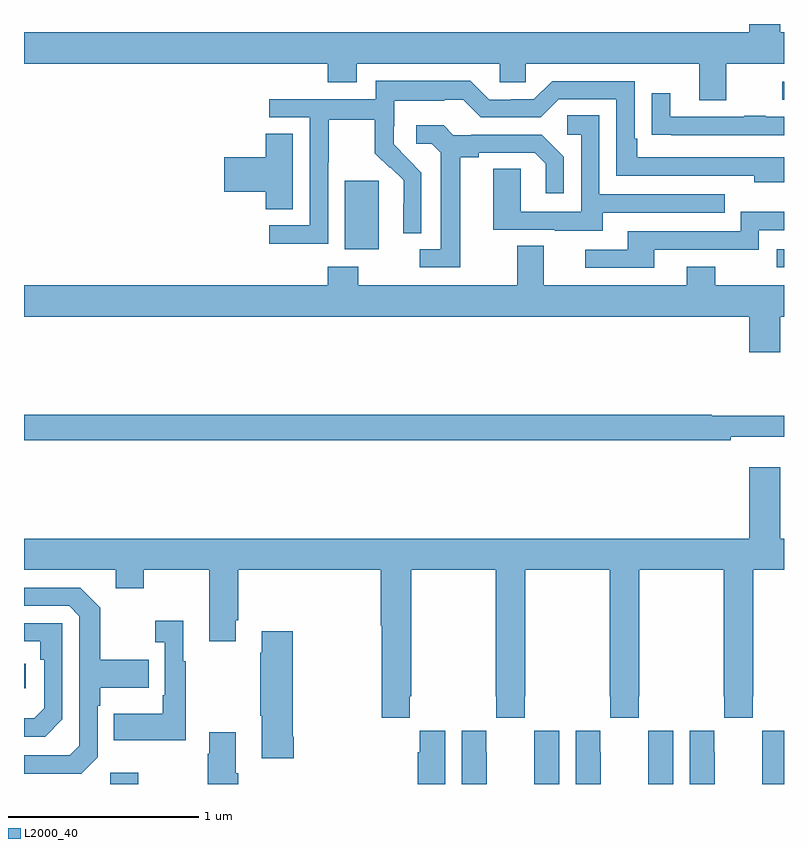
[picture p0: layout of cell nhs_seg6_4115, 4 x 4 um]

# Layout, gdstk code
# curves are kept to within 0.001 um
import gdstk
lib = gdstk.Library(unit=1e-6, precision=1e-09)
def R(c, l, rs):  # rectangles x0, y0, x1, y1
    for r in rs: c.add(gdstk.rectangle(r[:2], r[2:], *l))
def P(c, l, *ps):  # polygons
    for p in ps: c.add(gdstk.Polygon(p, *l))
L2000_40 = (2000, 40)

nhs_seg6_4115 = lib.new_cell('nhs_seg6_4115')
R(nhs_seg6_4115, L2000_40, [(353.454,987.5,353.601,987.559), (353,988.004,353.008,988.134), (356.961,990.219,357,990.315), (354.689,990.314,354.868,990.675), (356.991,991.101,357,991.197)])
P(nhs_seg6_4115, L2000_40, [(356.695,991.292),(357,991.292),(357,991.456),(356.98,991.456),(356.98,991.5),(356.816,991.5),(356.816,991.456),(353,991.456),(353,991.292),(354.599,991.292),(354.599,991.193),(354.751,991.193),(354.751,991.292),(355.503,991.292),(355.503,991.194),(355.641,991.194),(355.641,991.292),(356.555,991.292),(356.555,991.098),(356.695,991.098)],
  [(354.6,990.772),(354.603,990.772),(354.603,990.996),(354.847,990.996),(354.847,990.821),(354.924,990.744),(354.927,990.747),(354.998,990.677),(354.998,990.554),(354.996,990.554),(354.996,990.4),(355.092,990.4),(355.092,990.718),(354.946,990.866),(354.946,990.963),(354.948,990.963),(354.948,991.097),(355.211,991.097),(355.211,991.101),(355.311,991.101),(355.404,991.008),(355.719,991.008),(355.815,991.104),(356.118,991.104),(356.118,990.702),(356.843,990.702),(356.843,990.668),(357,990.668),(357,990.798),(356.227,990.798),(356.227,990.895),(356.214,990.895),(356.214,991.2),(355.779,991.2),(355.683,991.104),(355.565,991.104),(355.565,991.101),(355.449,991.101),(355.349,991.201),(354.852,991.201),(354.852,991.104),(354.291,991.104),(354.291,991.008),(354.504,991.008),(354.504,990.441),(354.291,990.441),(354.291,990.343),(354.6,990.343)],
  [(357,991.011),(356.903,991.011),(356.903,991.016),(356.791,991.016),(356.791,991.011),(356.401,991.011),(356.401,991.135),(356.305,991.135),(356.305,990.916),(356.407,990.916),(356.407,990.915),(357,990.915)],
  [(356.047,990.507),(356.687,990.507),(356.687,990.603),(356.028,990.603),(356.028,991.019),(355.86,991.019),(355.86,990.918),(355.932,990.918),(355.932,990.513),(355.614,990.513),(355.614,990.737),(355.469,990.737),(355.469,990.417),(355.793,990.417),(355.793,990.413),(356.047,990.413)],
  [(355.297,990.8),(355.393,990.8),(355.393,990.822),(355.688,990.822),(355.745,990.765),(355.745,990.609),(355.842,990.609),(355.842,990.802),(355.726,990.918),(355.354,990.918),(355.354,990.915),(355.26,990.915),(355.208,990.967),(355.065,990.967),(355.065,990.87),(355.146,990.87),(355.193,990.823),(355.193,990.315),(355.083,990.315),(355.083,990.219),(355.297,990.219)],
  [(354.415,990.923),(354.272,990.923),(354.272,990.8),(354.054,990.8),(354.054,990.617),(354.272,990.617),(354.272,990.526),(354.415,990.526)],
  [(356.317,990.312),(356.868,990.312),(356.868,990.414),(357,990.414),(357,990.511),(356.772,990.511),(356.772,990.408),(356.177,990.408),(356.177,990.312),(355.953,990.312),(355.953,990.216),(356.317,990.216)],
  [(356.98,989.96),(357,989.96),(357,990.124),(356.637,990.124),(356.637,990.223),(356.489,990.223),(356.489,990.124),(355.735,990.124),(355.735,990.332),(355.595,990.332),(355.595,990.124),(354.759,990.124),(354.759,990.223),(354.599,990.223),(354.599,990.124),(353,990.124),(353,989.96),(356.816,989.96),(356.816,989.772),(356.98,989.772)],
  [(356.72,989.327),(357,989.327),(357,989.437),(356.62,989.437),(356.62,989.444),(353,989.444),(353,989.308),(356.72,989.308)],
  [(355.031,987.961),(355.038,987.961),(355.038,988.628),(355.483,988.628),(355.483,987.961),(355.485,987.961),(355.485,987.849),(355.635,987.849),(355.635,987.961),(355.638,987.961),(355.638,988.628),(356.083,988.628),(356.083,987.961),(356.085,987.961),(356.085,987.849),(356.235,987.849),(356.235,987.961),(356.238,987.961),(356.238,988.628),(356.683,988.628),(356.683,987.961),(356.685,987.961),(356.685,987.849),(356.835,987.849),(356.835,987.961),(356.838,987.961),(356.838,988.628),(357,988.628),(357,988.792),(356.98,988.792),(356.98,989.167),(356.816,989.167),(356.816,988.792),(353,988.792),(353,988.628),(353.483,988.628),(353.483,988.529),(353.631,988.529),(353.631,988.628),(353.975,988.628),(353.975,988.251),(354.115,988.251),(354.115,988.363),(354.128,988.363),(354.128,988.628),(354.878,988.628),(354.878,988.332),(354.883,988.332),(354.883,987.849),(355.031,987.849)],
  [(353.388,987.642),(353.388,987.911),(353.401,987.911),(353.401,988.007),(353.657,988.007),(353.657,988.155),(353.401,988.155),(353.401,988.427),(353.295,988.533),(353,988.533),(353,988.437),(353.238,988.437),(353.292,988.383),(353.292,987.702),(353.241,987.651),(353,987.651),(353,987.555),(353.301,987.555)],
  [(353.851,988.147),(353.839,988.147),(353.839,988.36),(353.691,988.36),(353.691,988.247),(353.742,988.247),(353.742,987.967),(353.73,987.967),(353.73,987.871),(353.473,987.871),(353.473,987.731),(353.851,987.731)],
  [(353.202,987.84),(353.202,988.347),(353,988.347),(353,988.251),(353.086,988.251),(353.086,988.154),(353.106,988.154),(353.106,987.9),(353.053,987.847),(353,987.847),(353,987.75),(353.112,987.75)],
  [(354.419,987.748),(354.414,987.748),(354.414,988.303),(354.251,988.303),(354.251,988.19),(354.244,988.19),(354.244,987.859),(354.251,987.859),(354.251,987.636),(354.419,987.636)],
  [(356.635,987.668),(356.634,987.668),(356.634,987.781),(356.504,987.781),(356.504,987.5),(356.635,987.5)],
  [(356.416,987.781),(356.286,987.781),(356.286,987.668),(356.285,987.668),(356.285,987.5),(356.416,987.5)],
  [(357,987.781),(356.886,987.781),(356.886,987.668),(356.885,987.668),(356.885,987.5),(357,987.5)],
  [(355.216,987.781),(355.082,987.781),(355.082,987.668),(355.073,987.668),(355.073,987.5),(355.216,987.5)],
  [(355.435,987.668),(355.434,987.668),(355.434,987.781),(355.304,987.781),(355.304,987.5),(355.435,987.5)],
  [(355.816,987.781),(355.686,987.781),(355.686,987.668),(355.685,987.668),(355.685,987.5),(355.816,987.5)],
  [(356.035,987.668),(356.034,987.668),(356.034,987.781),(355.904,987.781),(355.904,987.5),(356.035,987.5)],
  [(354.128,987.556),(354.115,987.556),(354.115,987.772),(353.975,987.772),(353.975,987.659),(353.968,987.659),(353.968,987.5),(354.128,987.5)])

lib.write_gds('nhs_seg6_4115.gds')
